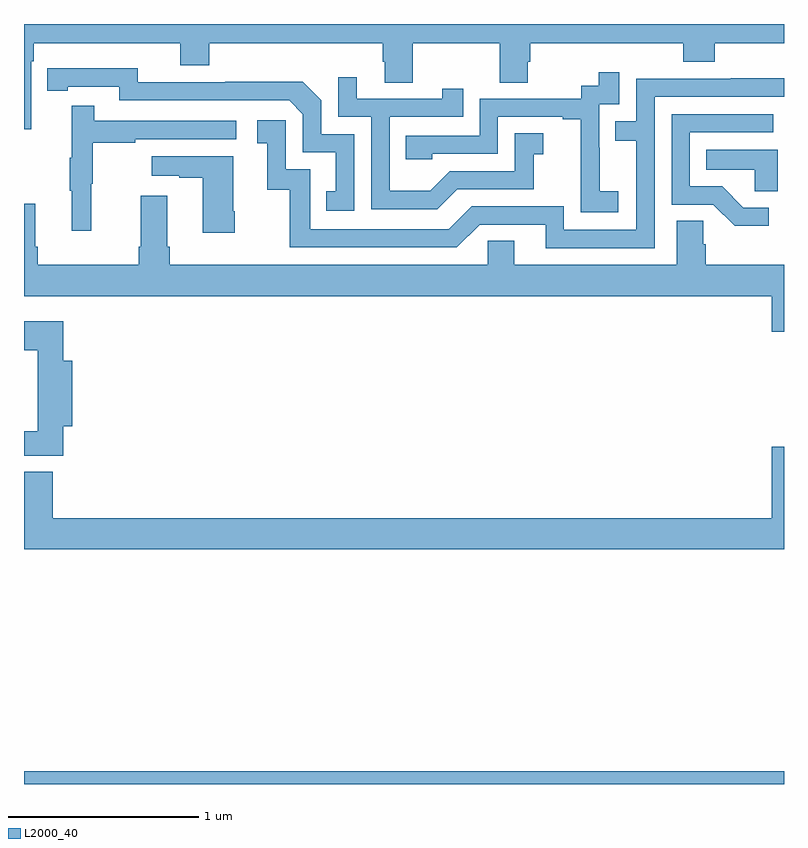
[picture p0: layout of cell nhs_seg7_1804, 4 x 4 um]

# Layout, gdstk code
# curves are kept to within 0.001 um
import gdstk
lib = gdstk.Library(unit=1e-6, precision=1e-09)
def R(c, l, rs):  # rectangles x0, y0, x1, y1
    for r in rs: c.add(gdstk.rectangle(r[:2], r[2:], *l))
def P(c, l, *ps):  # polygons
    for p in ps: c.add(gdstk.Polygon(p, *l))
L2000_40 = (2000, 40)

nhs_seg7_1804 = lib.new_cell('nhs_seg7_1804')
R(nhs_seg7_1804, L2000_40, [(233,1046,237,1046.068)])
P(nhs_seg7_1804, L2000_40, [(233.037,1049.804),(233.051,1049.804),(233.051,1049.9),(233.822,1049.9),(233.822,1049.783),(233.975,1049.783),(233.975,1049.9),(234.887,1049.9),(234.887,1049.802),(234.899,1049.802),(234.899,1049.692),(235.047,1049.692),(235.047,1049.9),(235.504,1049.9),(235.504,1049.692),(235.651,1049.692),(235.651,1049.802),(235.664,1049.802),(235.664,1049.9),(236.471,1049.9),(236.471,1049.801),(236.636,1049.801),(236.636,1049.9),(237,1049.9),(237,1050),(233,1050),(233,1049.445),(233.037,1049.445)],
  [(234.738,1049.421),(234.564,1049.421),(234.564,1049.598),(234.466,1049.696),(234.058,1049.696),(234.058,1049.694),(233.598,1049.694),(233.598,1049.767),(233.122,1049.766),(233.122,1049.65),(233.23,1049.65),(233.23,1049.67),(233.502,1049.67),(233.502,1049.598),(234.396,1049.598),(234.468,1049.526),(234.468,1049.325),(234.641,1049.325),(234.641,1049.121),(234.592,1049.121),(234.592,1049.016),(234.738,1049.016)],
  [(236.128,1049.119),(236.03,1049.119),(236.03,1049.348),(236.028,1049.348),(236.028,1049.577),(236.133,1049.577),(236.133,1049.746),(236.025,1049.746),(236.025,1049.676),(235.932,1049.676),(235.932,1049.607),(235.398,1049.607),(235.398,1049.412),(235.009,1049.412),(235.009,1049.289),(235.149,1049.289),(235.149,1049.316),(235.494,1049.316),(235.494,1049.511),(235.835,1049.511),(235.835,1049.499),(235.931,1049.499),(235.931,1049.215),(235.93,1049.215),(235.93,1049.009),(236.128,1049.009)],
  [(235.279,1049.13),(235.683,1049.13),(235.683,1049.315),(235.732,1049.315),(235.732,1049.425),(235.584,1049.425),(235.584,1049.226),(235.242,1049.226),(235.138,1049.122),(234.924,1049.122),(234.924,1049.511),(235.313,1049.511),(235.313,1049.659),(235.202,1049.659),(235.202,1049.607),(234.751,1049.607),(234.751,1049.719),(234.654,1049.719),(234.654,1049.511),(234.828,1049.511),(234.828,1049.025),(235.174,1049.025)],
  [(236.319,1049.616),(237,1049.616),(237,1049.714),(236.719,1049.714),(236.719,1049.712),(236.223,1049.712),(236.223,1049.487),(236.113,1049.487),(236.113,1049.386),(236.223,1049.386),(236.223,1048.917),(235.842,1048.917),(235.842,1049.04),(235.356,1049.04),(235.236,1048.92),(234.507,1048.92),(234.507,1049.235),(234.378,1049.235),(234.378,1049.494),(234.228,1049.494),(234.228,1049.373),(234.281,1049.373),(234.281,1049.127),(234.399,1049.127),(234.399,1048.824),(235.278,1048.824),(235.398,1048.944),(235.745,1048.944),(235.745,1048.821),(236.319,1048.821)],
  [(233.354,1049.16),(233.362,1049.16),(233.362,1049.374),(233.585,1049.374),(233.585,1049.394),(234.118,1049.394),(234.118,1049.49),(233.369,1049.49),(233.369,1049.569),(233.252,1049.569),(233.252,1049.297),(233.241,1049.297),(233.241,1049.123),(233.252,1049.123),(233.252,1048.911),(233.354,1048.911)],
  [(236.92,1049.034),(236.785,1049.034),(236.674,1049.145),(236.505,1049.145),(236.505,1049.43),(236.944,1049.43),(236.944,1049.526),(236.409,1049.526),(236.409,1049.049),(236.628,1049.049),(236.741,1048.937),(236.92,1048.937)],
  [(236.968,1049.338),(236.59,1049.338),(236.59,1049.234),(236.847,1049.234),(236.847,1049.119),(236.968,1049.119)],
  [(234.108,1049.014),(234.1,1049.014),(234.1,1049.305),(233.673,1049.305),(233.673,1049.201),(233.816,1049.201),(233.816,1049.191),(233.942,1049.191),(233.942,1048.902),(234.108,1048.902)],
  [(237,1048.732),(236.588,1048.732),(236.588,1048.841),(236.574,1048.841),(236.574,1048.964),(236.435,1048.964),(236.435,1048.732),(235.579,1048.732),(235.579,1048.859),(235.44,1048.859),(235.44,1048.732),(233.768,1048.732),(233.768,1048.828),(233.755,1048.828),(233.755,1049.095),(233.615,1049.095),(233.615,1048.828),(233.603,1048.828),(233.603,1048.732),(233.072,1048.732),(233.072,1048.828),(233.059,1048.828),(233.059,1049.053),(233,1049.053),(233,1048.568),(236.936,1048.568),(236.936,1048.38),(237,1048.38)],
  [(233.207,1047.884),(233.254,1047.884),(233.254,1048.228),(233.207,1048.228),(233.207,1048.435),(233,1048.435),(233,1048.283),(233.072,1048.283),(233.072,1047.856),(233,1047.856),(233,1047.728),(233.207,1047.728)],
  [(237,1047.775),(236.936,1047.775),(236.936,1047.4),(233.15,1047.4),(233.15,1047.643),(233,1047.643),(233,1047.236),(237,1047.236)])

lib.write_gds('nhs_seg7_1804.gds')
